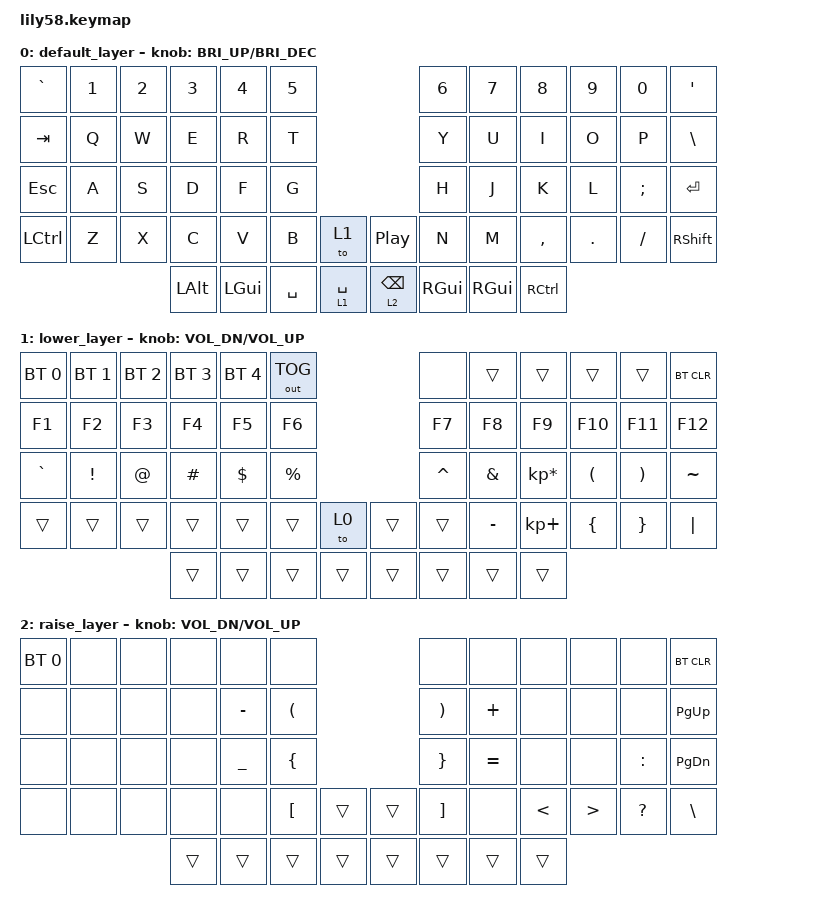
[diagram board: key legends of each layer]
/*
 * Copyright (c) 2020 The ZMK Contributors
 *
 * SPDX-License-Identifier: MIT
 */

#include <dt-bindings/led/led.h>
#include <behaviors.dtsi>
#include <dt-bindings/zmk/bt.h>
#include <dt-bindings/zmk/keys.h>
#include <dt-bindings/zmk/outputs.h>

/ {
    combos { compatible = "zmk,combos"; };

    keymap {
        compatible = "zmk,keymap";

        default_layer {
            // ------------------------------------------------------------------------------------------------------------
            // |  ESC  |  1  |  2  |  3   |  4     |  5    |                   |  6   |  7     |  8    |  9   |   0   |   `   |
            // |  TAB  |  Q  |  W  |  E   |  R     |  T    |                   |  Y   |  U     |  I    |  O   |   P   |   -   |
            // |  CTRL |  A  |  S  |  D   |  F     |  G    |                   |  H   |  J     |  K    |  L   |   ;   |   '   |
            // | SHIFT |  Z  |  X  |  C   |  V     |  B    | "CAPS" |  |  "]"  |  N   |  M     |  ,    |  .   |   /   | SHIFT |
            //                     | ALT  |  GUI   | LOWER | SPACE  |  | ENTER | BSPC |  RAISE | CAPS  |

            bindings = <
&kp GRAVE   &kp N1  &kp N2  &kp N3        &kp N4        &kp N5                                     &kp N6    &kp N7    &kp N8     &kp N9   &kp N0         &kp SINGLE_QUOTE
&kp TAB     &kp Q   &kp W   &kp E         &kp R         &kp T                                      &kp Y     &kp U     &kp I      &kp O    &kp P          &kp BACKSLASH
&kp ESCAPE  &kp A   &kp S   &kp D         &kp F         &kp G                                      &kp H     &kp J     &kp K      &kp L    &kp SEMICOLON  &kp ENTER
&kp LCTRL   &kp Z   &kp X   &kp C         &kp V         &kp B      &to 1          &kp C_PP         &kp N     &kp M     &kp COMMA  &kp DOT  &kp FSLH       &kp RSHFT
                            &kp LEFT_ALT  &kp LEFT_GUI  &kp SPACE  &lt 1 SPACE    &lt 2 BACKSPACE  &kp RGUI  &kp RGUI  &kp RCTRL
            >;

            // sensor-bindings = <&inc_dec_kp C_VOL_UP C_VOL_DN &inc_dec_kp C_VOL_UP C_VOL_DN>;

            sensor-bindings = <&inc_dec_kp C_BRI_UP C_BRI_DEC>;
        };

        lower_layer {
            // ------------------------------------------------------------------------------------------------------------
            // | BTCLR | BT1 | BT2 |  BT3 |  BT4 |  TOG |                   |      |       |       |      |       |       |
            // |  F1   |  F2 |  F3 |  F4  |  F5  |  F6  |                   |  F7  |  F8   |  F9   |  F10 |  F11  |  F12  |
            // |   `   |  !  |  @  |  #   |  $   |  %   |                   |  ^   |  &    |  *    |  (   |   )   |   ~   |
            // |       |     |     |      |      |      |        |  |       |      |  _    |  +    |  {   |   }   |  "|"  |
            //                     |      |      |      |        |  |       |      |       |       |

            bindings = <
&bt BT_SEL 0  &bt BT_SEL 1  &bt BT_SEL 2  &bt BT_SEL 3  &bt BT_SEL 4  &out OUT_TOG                    &none      &trans     &trans           &trans    &trans    &bt BT_CLR
&kp F1        &kp F2        &kp F3        &kp F4        &kp F5        &kp F6                          &kp F7     &kp F8     &kp F9           &kp F10   &kp F11   &kp F12
&kp GRAVE     &kp EXCL      &kp AT        &kp HASH      &kp DOLLAR    &kp PRCNT                       &kp CARET  &kp AMPS   &kp KP_MULTIPLY  &kp LPAR  &kp RPAR  &kp TILDE
&trans        &trans        &trans        &trans        &trans        &trans        &to 0     &trans  &trans     &kp MINUS  &kp KP_PLUS      &kp LBRC  &kp RBRC  &kp PIPE
                                          &trans        &trans        &trans        &trans    &trans  &trans     &trans     &trans
            >;

            sensor-bindings = <&inc_dec_kp C_VOL_DN C_VOL_UP>;
        };

        raise_layer {
            // ------------------------------------------------------------------------------------------------------------
            // |       |     |     |      |      |      |                   |      |       |       |      |       |       |
            // |   `   |  1  |  2  |  3   |  4   |  5   |                   |  6   |   7   |   8   |  9   |   0   | PG_UP |
            // |   F1  |  F2 |  F3 |  F4  |  F5  |  F6  |                   |  <-  |   v   |   ^   |  ->  |       | PG_DN |
            // |   F7  |  F8 |  F9 |  F10 |  F11 |  F12 |        |  |       |  -   |   +   |   =   |  [   |   ]   |   \   |
            //                     |      |      |      |        |  |       |      |       |       |

            bindings = <
&bt BT_SEL 0  &none  &none  &none   &none           &none                                   &none                  &none      &none          &none             &none         &bt BT_CLR
&none         &none  &none  &none   &kp MINUS       &kp LEFT_PARENTHESIS                    &kp RIGHT_PARENTHESIS  &kp PLUS   &none          &none             &none         &kp PG_UP
&none         &none  &none  &none   &kp UNDERSCORE  &kp LEFT_BRACE                          &kp RIGHT_BRACE        &kp EQUAL  &none          &none             &kp COLON     &kp PG_DN
&none         &none  &none  &none   &none           &kp LEFT_BRACKET      &trans    &trans  &kp RBKT               &none      &kp LESS_THAN  &kp GREATER_THAN  &kp QUESTION  &kp BSLH
                            &trans  &trans          &trans                &trans    &trans  &trans                 &trans     &trans
            >;

            sensor-bindings = <&inc_dec_kp C_VOL_DN C_VOL_UP>;
        };
    };
};
